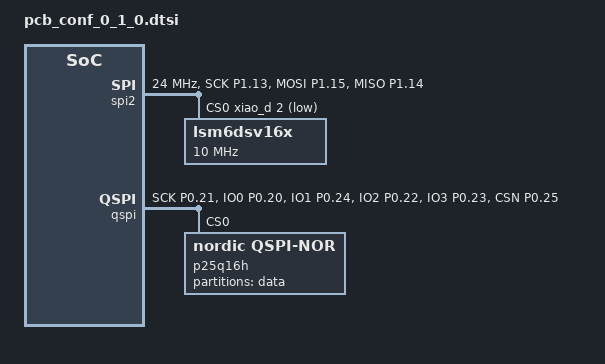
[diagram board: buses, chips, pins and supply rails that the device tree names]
/ {
	chosen {
        nordic,pm-ext-flash = &p25q16h;
    };

	gpin {
		imu_int1: imu_int1 {
			label = "IMU interrupt 1 pin";
			gpios = <&xiao_d 0 GPIO_ACTIVE_HIGH>;
		};

		imu_int2: imu_int2 {
			label = "IMU interrupt 2 pin";
			gpios = <&xiao_d 1 GPIO_ACTIVE_HIGH>;
		};
	};

    aliases {
        spi-flash0 = &p25q16h;
		imu = &lsm6dsv16x;
		imuint1 = &imu_int1;
		imuint2 = &imu_int2;
    };
};

&spi2 {
	compatible = "nordic,nrf-spi";
	status = "okay";
	pinctrl-0 = <&spi2_default>;
	pinctrl-1 = <&spi2_sleep>;
	pinctrl-names = "default", "sleep";
	cs-gpios = <&xiao_d 2 GPIO_ACTIVE_LOW>;
	clock-frequency = <DT_FREQ_M(24)>;
	lsm6dsv16x: lsm6dsv16x@0 {
		compatible = "zephyr,lsm6dsv16x";
		spi-max-frequency = < DT_FREQ_M(10) >;
		reg = <0>;
    };
};

&qspi {
	status = "okay";
	pinctrl-0 = <&qspi_default>;
	pinctrl-1 = <&qspi_sleep>;
	pinctrl-names = "default", "sleep";
	p25q16h: p25q16h@0 {
		compatible = "nordic,qspi-nor";
		reg = <0>;
		sck-frequency = <16000000>; /* Use only 16MHz. The max frequency of 104MHz corrupts the data when reading/writing. */
		quad-enable-requirements = "S2B1v1";
		jedec-id = [85 60 15];
		sfdp-bfp = [
			e5 20 f1 ff  ff ff ff 00  44 eb 08 6b  08 3b 80 bb
			ee ff ff ff  ff ff 00 ff  ff ff 00 ff  0c 20 0f 52
			10 d8 08 81
		];
		size = <16777216>;
		has-dpd;
		t-enter-dpd = <3000>;
		t-exit-dpd = <8000>;

        partitions {
            compatible = "fixed-partitions";
            #address-cells = <1>;
            #size-cells = <1>;

            data_partition: partition@0 {
                label = "data";
                reg = <0x00000000 0x00200000>;
            };
        };
	};
};

&pinctrl {
    uart0_default: uart0_default {
		group1 {
			psels = <NRF_PSEL(UART_TX, 1, 11)>;
		};
		group2 {
			psels = <NRF_PSEL(UART_RX, 1, 12)>;
			bias-pull-up;
		};
	};

	uart0_sleep: uart0_sleep {
		group1 {
			psels = <NRF_PSEL(UART_TX, 1, 11)>,
				<NRF_PSEL(UART_RX, 1, 12)>;
			low-power-enable;
		};
	};

	spi2_default: spi2_default {
		group1 {
			psels = <NRF_PSEL(SPIM_SCK, 1, 13)>,
				<NRF_PSEL(SPIM_MOSI, 1, 15)>,
				<NRF_PSEL(SPIM_MISO, 1, 14)>;
		};
	};

	spi2_sleep: spi2_sleep {
		group1 {
			psels = <NRF_PSEL(SPIM_SCK, 1, 13)>,
				<NRF_PSEL(SPIM_MOSI, 1, 15)>,
				<NRF_PSEL(SPIM_MISO, 1, 14)>;
			low-power-enable;
		};
	};

    qspi_default: qspi_default {
		group1 {
			psels = <NRF_PSEL(QSPI_SCK, 0, 21)>,
				<NRF_PSEL(QSPI_IO0, 0, 20)>,
				<NRF_PSEL(QSPI_IO1, 0, 24)>,
				<NRF_PSEL(QSPI_IO2, 0, 22)>,
				<NRF_PSEL(QSPI_IO3, 0, 23)>,
				<NRF_PSEL(QSPI_CSN, 0, 25)>;
		};
	};

	qspi_sleep: qspi_sleep {
		group1 {
			psels = <NRF_PSEL(QSPI_SCK, 0, 21)>,
				<NRF_PSEL(QSPI_IO0, 0, 20)>,
				<NRF_PSEL(QSPI_IO1, 0, 24)>,
				<NRF_PSEL(QSPI_IO2, 0, 22)>,
				<NRF_PSEL(QSPI_IO3, 0, 23)>,
				<NRF_PSEL(QSPI_CSN, 0, 25)>;
			low-power-enable;
		};
	};
};
